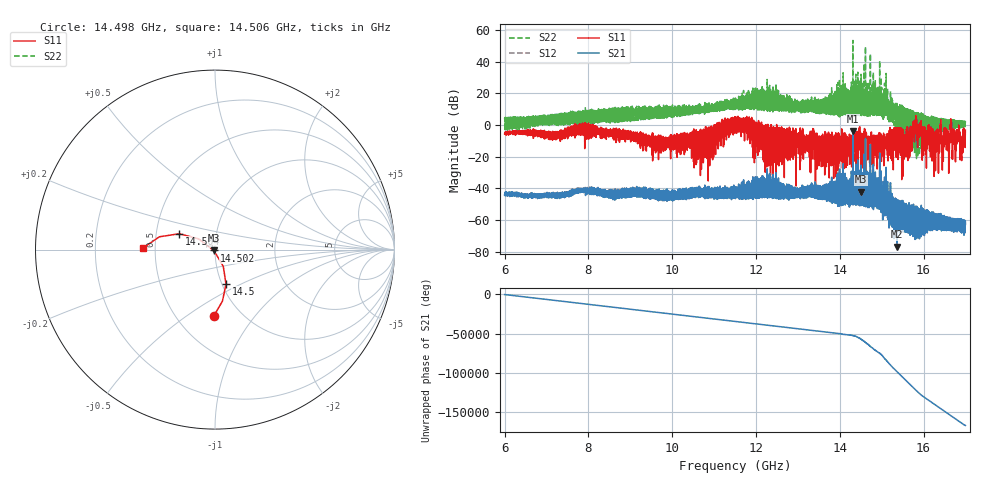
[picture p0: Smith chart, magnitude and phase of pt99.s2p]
#  HZ  S  RI  R  50.00
! Rohde & Schwarz Vector Network Analyzer
! Rohde-Schwarz,ZNA67-2Port,1332450062101215,3.01
! Created: UTC 10/19/2026, 11:50:22 AM
! freq[Hz]  re:S11  im:S11  re:S21  im:S21  re:S12  im:S12  re:S22  im:S22
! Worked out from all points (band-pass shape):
!   11001 points, 6 GHz to 17 GHz, reference 50 ohm
!   highest |S21| = -3.83 dB at 14.315 GHz (marker M1); lowest = -76.9 dB at 15.365 GHz (marker M2)
!   |S21| within 3 dB of the highest: 14.31493 GHz to 14.31508 GHz (147 kHz wide, 0.00103 % of centre)
!   lowest |S11| = -42.2 dB at 14.502 GHz (marker M3), VSWR 1.02, Z = 49.4 - j0.453 ohm
!   |S11| at or under -10 dB: 13.46875 GHz to 13.49461 GHz (25.86 MHz wide, 0.192 % of centre); 13.92257 GHz to 13.94846 GHz (25.88 MHz wide, 0.186 % of centre); 16.44499 GHz to 16.47532 GHz (30.33 MHz wide, 0.184 % of centre) (the widest 3 of 510)
!   |S22| runs from -21.3 to 53.4 dB; largest |S21 - S12| = 0.029
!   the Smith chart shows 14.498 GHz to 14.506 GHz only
!   S11 on the Smith chart (normalised r, x): 14.498 GHz: 0.75, -0.64; 14.5 GHz: 1.05, -0.42; 14.502 GHz: 0.99, -0.01; 14.504 GHz: 0.66, +0.12; 14.506 GHz: 0.43, +0.01
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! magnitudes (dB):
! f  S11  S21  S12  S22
! 6 GHz  -5.7  -44.2  -44.2  3.5
! 7.834 GHz  -3.0  -40.3  -40.2  8.3
! 9.667 GHz  -6.9  -41.2  -41.4  12.2
! 10.726 GHz  -5.4  -45.0  -45.0  8.1
! 11.5 GHz  4.9  -43.1  -43.2  12.5
! 12.436 GHz  -2.9  -40.6  -40.6  16.0
! 13.334 GHz  -12.3  -43.5  -43.5  10.8
! 13.523 GHz  -7.3  -46.6  -46.4  7.1
! 14.315 GHz  -8.6  -3.8  -3.6  53.4
! 14.498 GHz  -8.7  -33.1  -33.2  25.0
! 14.5 GHz  -13.9  -50.3  -50.2  8.6
! 14.502 GHz  -42.2  -36.9  -36.8  20.4
! 14.504 GHz  -13.2  -48.0  -48.0  8.9
! 14.506 GHz  -7.9  -51.0  -50.9  6.5
! 15.167 GHz  -14.9  -55.7  -55.8  5.4
! 15.365 GHz  -18.1  -76.9  -77.2  -0.3
! 15.677 GHz  -2.5  -53.4  -53.3  6.7
! 15.798 GHz  -5.4  -72.4  -72.7  -17.1
! 16.234 GHz  -8.6  -58.3  -58.5  3.2
! 16.689 GHz  -16.6  -61.0  -60.7  1.7
! 16.912 GHz  -20.7  -61.9  -61.8  1.8
! 17 GHz  -3.3  -62.9  -63.0  1.5
